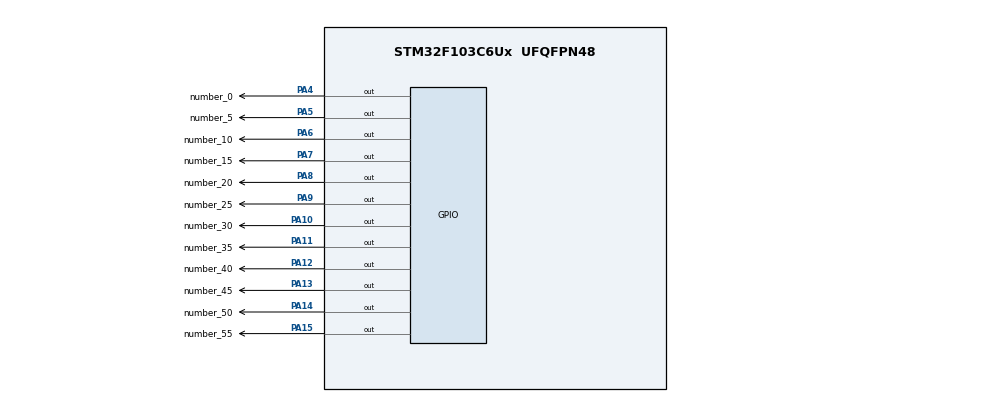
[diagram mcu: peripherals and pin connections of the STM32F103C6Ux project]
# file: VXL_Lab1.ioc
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Mcu.Family=STM32F1
Mcu.Name=STM32F103C6Ux
Mcu.Package=UFQFPN48
NVIC.PriorityGroup=NVIC_PRIORITYGROUP_4
PA10.GPIO_Label=number_30
PA10.Signal=GPIO_Output
PA11.GPIO_Label=number_35
PA11.Signal=GPIO_Output
PA12.GPIO_Label=number_40
PA12.Signal=GPIO_Output
PA13.GPIO_Label=number_45
PA13.Signal=GPIO_Output
PA14.GPIO_Label=number_50
PA14.Signal=GPIO_Output
PA15.GPIO_Label=number_55
PA15.Signal=GPIO_Output
PA4.GPIO_Label=number_0
PA4.Signal=GPIO_Output
PA5.GPIO_Label=number_5
PA5.Signal=GPIO_Output
PA6.GPIO_Label=number_10
PA6.Signal=GPIO_Output
PA7.GPIO_Label=number_15
PA7.Signal=GPIO_Output
PA8.GPIO_Label=number_20
PA8.Signal=GPIO_Output
PA9.GPIO_Label=number_25
PA9.Signal=GPIO_Output
ProjectManager.HeapSize=0x200
ProjectManager.StackSize=0x400
ProjectManager.TargetToolchain=STM32CubeIDE
RCC.APB1Freq_Value=8000000
RCC.APB2Freq_Value=8000000
board=custom

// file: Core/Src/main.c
/* USER CODE BEGIN Header */
/**
  ******************************************************************************
  * @file           : main.c
  * @brief          : Main program body
  ******************************************************************************
  * @attention
  *
  * Copyright (c) 2024 STMicroelectronics.
  * All rights reserved.
  *
  * This software is licensed under terms that can be found in the LICENSE file
  * in the root directory of this software component.
  * If no LICENSE file comes with this software, it is provided AS-IS.
  *
  ******************************************************************************
  */
/* USER CODE END Header */
#include "main.h"

void SystemClock_Config(void);
static void MX_GPIO_Init(void);

int main(void)
{

  /* MCU Configuration--------------------------------------------------------*/

  /* Reset of all peripherals, Initializes the Flash interface and the Systick. */
  HAL_Init();

  /* Configure the system clock */
  SystemClock_Config();

  /* Initialize all configured peripherals */
  MX_GPIO_Init();

  /* Infinite loop */
  /* USER CODE BEGIN WHILE */
  int hour = 3;
  int minute = 59;
  int second = 50;
  while (1)
  {
	  if (second == 60) {
	              second = 0;
	              minute += 1;

	              //Minute
	              if (minute == 60) {
	                  minute = 0;
	                  hour += 1;

	                  // Hour
	                  if (hour == 12) {
	                      hour = 0;
	                  }
	              }
	          }

	          int hourPos = (hour % 12);
	          int minPos = (minute / 5) % 12;
	          int secPos = (second / 5) % 12;
	          updateClock(hourPos, minPos, secPos);

	          HAL_Delay(1000);

	          //Sec
	          second++;

    /* USER CODE END WHILE */

  }
}

void SystemClock_Config(void)
{
  RCC_OscInitTypeDef RCC_OscInitStruct = {0};
  RCC_ClkInitTypeDef RCC_ClkInitStruct = {0};

  /** Initializes the RCC Oscillators according to the specified parameters
  * in the RCC_OscInitTypeDef structure.
  */
  RCC_OscInitStruct.OscillatorType = RCC_OSCILLATORTYPE_HSI;
  RCC_OscInitStruct.HSIState = RCC_HSI_ON;
  RCC_OscInitStruct.HSICalibrationValue = RCC_HSICALIBRATION_DEFAULT;
  RCC_OscInitStruct.PLL.PLLState = RCC_PLL_NONE;
  if (HAL_RCC_OscConfig(&RCC_OscInitStruct) != HAL_OK)
  {
    Error_Handler();
  }

  /** Initializes the CPU, AHB and APB buses clocks
  */
  RCC_ClkInitStruct.ClockType = RCC_CLOCKTYPE_HCLK|RCC_CLOCKTYPE_SYSCLK
                              |RCC_CLOCKTYPE_PCLK1|RCC_CLOCKTYPE_PCLK2;
  RCC_ClkInitStruct.SYSCLKSource = RCC_SYSCLKSOURCE_HSI;
  RCC_ClkInitStruct.AHBCLKDivider = RCC_SYSCLK_DIV1;
  RCC_ClkInitStruct.APB1CLKDivider = RCC_HCLK_DIV1;
  RCC_ClkInitStruct.APB2CLKDivider = RCC_HCLK_DIV1;

  if (HAL_RCC_ClockConfig(&RCC_ClkInitStruct, FLASH_LATENCY_0) != HAL_OK)
  {
    Error_Handler();
  }
}

static void MX_GPIO_Init(void)
{
  GPIO_InitTypeDef GPIO_InitStruct = {0};

  /* GPIO Ports Clock Enable */
  __HAL_RCC_GPIOA_CLK_ENABLE();

  /*Configure GPIO pin Output Level */
  HAL_GPIO_WritePin(GPIOA, number_0_Pin|number_5_Pin|number_10_Pin|number_15_Pin
                          |number_20_Pin|number_25_Pin|number_30_Pin|number_35_Pin
                          |number_40_Pin|number_45_Pin|number_50_Pin|number_55_Pin, GPIO_PIN_RESET);

  /*Configure GPIO pins : number_0_Pin number_5_Pin number_10_Pin number_15_Pin
                           number_20_Pin number_25_Pin number_30_Pin number_35_Pin
                           number_40_Pin number_45_Pin number_50_Pin number_55_Pin */
  GPIO_InitStruct.Pin = number_0_Pin|number_5_Pin|number_10_Pin|number_15_Pin
                          |number_20_Pin|number_25_Pin|number_30_Pin|number_35_Pin
                          |number_40_Pin|number_45_Pin|number_50_Pin|number_55_Pin;
  GPIO_InitStruct.Mode = GPIO_MODE_OUTPUT_PP;
  GPIO_InitStruct.Pull = GPIO_NOPULL;
  GPIO_InitStruct.Speed = GPIO_SPEED_FREQ_LOW;
  HAL_GPIO_Init(GPIOA, &GPIO_InitStruct);

}

/* USER CODE BEGIN 4 */
uint16_t clockLEDs[12] = {GPIO_PIN_4, GPIO_PIN_5, GPIO_PIN_6, GPIO_PIN_7, GPIO_PIN_8, GPIO_PIN_9, GPIO_PIN_10, GPIO_PIN_11, GPIO_PIN_12, GPIO_PIN_13, GPIO_PIN_14, GPIO_PIN_15};

void clearAllClock(void) {
        HAL_GPIO_WritePin(GPIOA, clockLEDs[0], GPIO_PIN_RESET);
        HAL_GPIO_WritePin(GPIOA, clockLEDs[1], GPIO_PIN_RESET);
        HAL_GPIO_WritePin(GPIOA, clockLEDs[2], GPIO_PIN_RESET);
        HAL_GPIO_WritePin(GPIOA, clockLEDs[3], GPIO_PIN_RESET);
        HAL_GPIO_WritePin(GPIOA, clockLEDs[4], GPIO_PIN_RESET);
        HAL_GPIO_WritePin(GPIOA, clockLEDs[5], GPIO_PIN_RESET);
        HAL_GPIO_WritePin(GPIOA, clockLEDs[6], GPIO_PIN_RESET);
        HAL_GPIO_WritePin(GPIOA, clockLEDs[7], GPIO_PIN_RESET);
        HAL_GPIO_WritePin(GPIOA, clockLEDs[8], GPIO_PIN_RESET);
        HAL_GPIO_WritePin(GPIOA, clockLEDs[9], GPIO_PIN_RESET);
        HAL_GPIO_WritePin(GPIOA, clockLEDs[10], GPIO_PIN_RESET);
        HAL_GPIO_WritePin(GPIOA, clockLEDs[11], GPIO_PIN_RESET);
}

void setNumberOnClock(int i) {
        HAL_GPIO_WritePin(GPIOA, clockLEDs[i], GPIO_PIN_SET);
}

void clearNumberOnClock(int i) {
        HAL_GPIO_WritePin(GPIOA, clockLEDs[i], GPIO_PIN_RESET);
}

void updateClock(int hourPos, int minPos, int secPos) {
    clearAllClock();
    setNumberOnClock(hourPos);
    setNumberOnClock(minPos);
    setNumberOnClock(secPos);
}

/* USER CODE END 4 */

void Error_Handler(void)
{
  __disable_irq();
  while (1)
  {
  }
}
